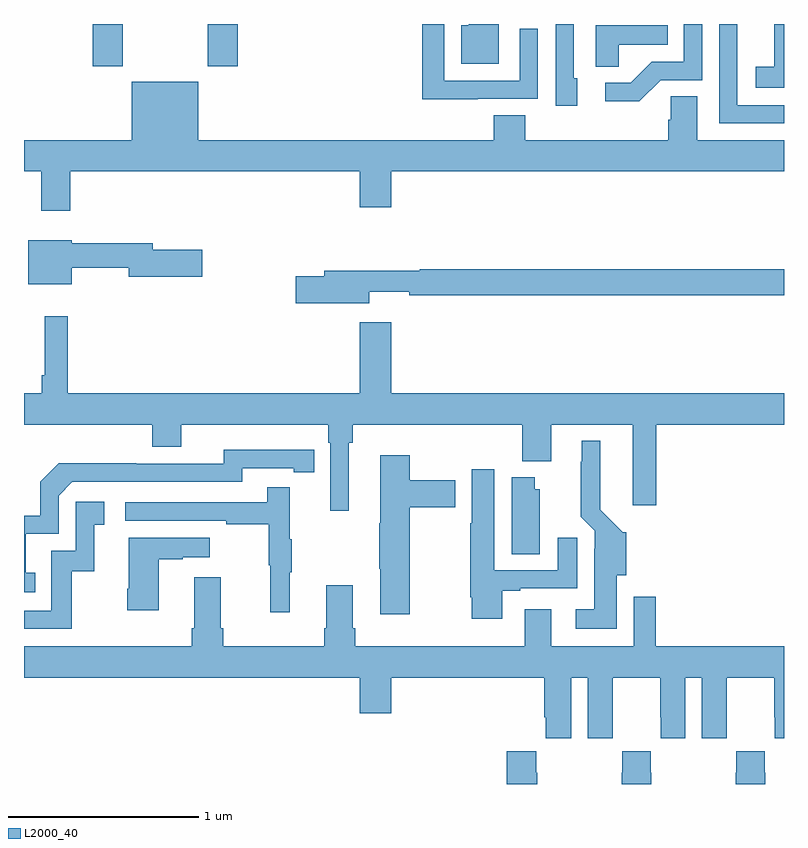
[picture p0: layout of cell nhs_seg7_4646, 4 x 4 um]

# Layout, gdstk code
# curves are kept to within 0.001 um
import gdstk
lib = gdstk.Library(unit=1e-6, precision=1e-09)
def R(c, l, rs):  # rectangles x0, y0, x1, y1
    for r in rs: c.add(gdstk.rectangle(r[:2], r[2:], *l))
def P(c, l, *ps):  # polygons
    for p in ps: c.add(gdstk.Polygon(p, *l))
L2000_40 = (2000, 40)

nhs_seg7_4646 = lib.new_cell('nhs_seg7_4646')
R(nhs_seg7_4646, L2000_40, [(403.361,1059.777,403.521,1060), (403.966,1059.777,404.126,1060)])
P(nhs_seg7_4646, L2000_40, [(405.389,1059.606),(405.705,1059.606),(405.705,1059.976),(405.609,1059.976),(405.609,1059.702),(405.213,1059.702),(405.213,1060),(405.097,1060),(405.097,1059.605),(405.389,1059.605)],
  [(407,1060),(406.949,1060),(406.949,1059.775),(406.851,1059.775),(406.851,1059.665),(407,1059.665)],
  [(405.499,1060),(405.341,1060),(405.341,1059.994),(405.302,1059.994),(405.302,1059.791),(405.499,1059.791)],
  [(406.35,1059.705),(406.569,1059.705),(406.569,1060),(406.473,1060),(406.473,1059.801),(406.304,1059.801),(406.193,1059.69),(406.059,1059.69),(406.059,1059.593),(406.237,1059.593)],
  [(405.913,1059.714),(405.894,1059.714),(405.894,1060),(405.798,1060),(405.798,1059.57),(405.913,1059.57)],
  [(407,1059.573),(406.755,1059.573),(406.755,1060),(406.659,1060),(406.659,1059.477),(407,1059.477)],
  [(406.131,1059.89),(406.388,1059.89),(406.388,1059.994),(406.01,1059.994),(406.01,1059.775),(406.131,1059.775)],
  [(403.244,1059.224),(404.768,1059.224),(404.768,1059.036),(404.932,1059.036),(404.932,1059.224),(407,1059.224),(407,1059.388),(406.543,1059.388),(406.543,1059.62),(406.404,1059.62),(406.404,1059.497),(406.391,1059.497),(406.391,1059.388),(405.638,1059.388),(405.638,1059.521),(405.473,1059.521),(405.473,1059.388),(403.918,1059.388),(403.918,1059.697),(403.568,1059.697),(403.568,1059.388),(403,1059.388),(403,1059.224),(403.091,1059.224),(403.091,1059.018),(403.244,1059.018)],
  [(403.252,1058.716),(403.55,1058.716),(403.55,1058.669),(403.939,1058.669),(403.939,1058.811),(403.678,1058.811),(403.678,1058.845),(403.252,1058.845),(403.252,1058.863),(403.022,1058.863),(403.022,1058.63),(403.252,1058.63)],
  [(404.818,1058.591),(405.028,1058.591),(405.028,1058.572),(407,1058.572),(407,1058.708),(405.083,1058.708),(405.083,1058.701),(404.579,1058.701),(404.579,1058.672),(404.43,1058.672),(404.43,1058.53),(404.818,1058.53)],
  [(404.71,1057.796),(404.729,1057.796),(404.729,1057.892),(405.623,1057.892),(405.623,1057.7),(405.775,1057.7),(405.775,1057.892),(406.205,1057.892),(406.205,1057.467),(406.328,1057.467),(406.328,1057.892),(407,1057.892),(407,1058.056),(404.932,1058.056),(404.932,1058.431),(404.768,1058.431),(404.768,1058.056),(403.229,1058.056),(403.229,1058.461),(403.108,1058.461),(403.108,1058.152),(403.093,1058.152),(403.093,1058.056),(403,1058.056),(403,1057.892),(403.676,1057.892),(403.676,1057.775),(403.828,1057.775),(403.828,1057.892),(404.6,1057.892),(404.6,1057.796),(404.613,1057.796),(404.613,1057.437),(404.71,1057.437)],
  [(406.12,1057.098),(406.171,1057.098),(406.171,1057.326),(406.151,1057.326),(406.033,1057.444),(406.033,1057.807),(405.935,1057.807),(405.935,1057.697),(405.931,1057.697),(405.931,1057.406),(406.005,1057.332),(406.005,1057.238),(406.001,1057.238),(406.001,1056.919),(405.903,1056.919),(405.903,1056.818),(406.12,1056.818)],
  [(403.058,1057.113),(403.009,1057.113),(403.009,1057.317),(403.182,1057.317),(403.182,1057.518),(403.254,1057.59),(404.148,1057.59),(404.148,1057.662),(404.42,1057.662),(404.42,1057.642),(404.528,1057.642),(404.528,1057.758),(404.052,1057.759),(404.052,1057.686),(403.592,1057.686),(403.592,1057.688),(403.184,1057.688),(403.086,1057.59),(403.086,1057.413),(403,1057.413),(403,1057.008),(403.058,1057.008)],
  [(405.03,1057.457),(405.271,1057.457),(405.271,1057.599),(405.03,1057.599),(405.03,1057.729),(404.876,1057.729),(404.876,1057.373),(404.869,1057.373),(404.869,1057.132),(404.876,1057.132),(404.876,1056.894),(405.03,1056.894)],
  [(405.517,1057.017),(405.613,1057.017),(405.613,1057.029),(405.913,1057.029),(405.913,1057.297),(405.809,1057.297),(405.809,1057.125),(405.475,1057.125),(405.475,1057.657),(405.356,1057.657),(405.356,1057.373),(405.349,1057.373),(405.349,1056.982),(405.356,1056.982),(405.356,1056.87),(405.517,1056.87)],
  [(405.715,1057.551),(405.688,1057.551),(405.688,1057.615),(405.566,1057.615),(405.566,1057.21),(405.715,1057.21)],
  [(404.399,1057.115),(404.41,1057.115),(404.41,1057.289),(404.399,1057.289),(404.399,1057.561),(404.281,1057.561),(404.281,1057.482),(403.533,1057.482),(403.533,1057.386),(404.065,1057.386),(404.065,1057.366),(404.289,1057.366),(404.289,1057.152),(404.296,1057.152),(404.296,1056.903),(404.399,1056.903)],
  [(403.252,1057.119),(403.37,1057.119),(403.37,1057.365),(403.423,1057.365),(403.423,1057.486),(403.272,1057.486),(403.272,1057.227),(403.143,1057.227),(403.143,1056.912),(403,1056.912),(403,1056.816),(403.252,1056.816)],
  [(403.708,1057.183),(403.835,1057.183),(403.835,1057.193),(403.978,1057.193),(403.978,1057.297),(403.55,1057.297),(403.55,1057.027),(403.543,1057.027),(403.543,1056.915),(403.708,1056.915)],
  [(405.88,1056.56),(405.968,1056.56),(405.968,1056.24),(406.098,1056.24),(406.098,1056.352),(406.099,1056.352),(406.099,1056.56),(406.349,1056.56),(406.349,1056.352),(406.35,1056.352),(406.35,1056.24),(406.48,1056.24),(406.48,1056.56),(406.568,1056.56),(406.568,1056.24),(406.698,1056.24),(406.698,1056.352),(406.699,1056.352),(406.699,1056.56),(406.949,1056.56),(406.949,1056.352),(406.95,1056.352),(406.95,1056.24),(407,1056.24),(407,1056.724),(406.325,1056.724),(406.325,1056.985),(406.209,1056.985),(406.209,1056.724),(405.775,1056.724),(405.775,1056.919),(405.635,1056.919),(405.635,1056.724),(404.744,1056.724),(404.744,1056.82),(404.731,1056.82),(404.731,1057.045),(404.591,1057.045),(404.591,1056.82),(404.579,1056.82),(404.579,1056.724),(404.048,1056.724),(404.048,1056.82),(404.035,1056.82),(404.035,1057.087),(403.895,1057.087),(403.895,1056.82),(403.883,1056.82),(403.883,1056.724),(403,1056.724),(403,1056.56),(404.768,1056.56),(404.768,1056.372),(404.932,1056.372),(404.932,1056.56),(405.737,1056.56),(405.737,1056.352),(405.746,1056.352),(405.746,1056.24),(405.88,1056.24)],
  [(405.702,1056.059),(405.695,1056.059),(405.695,1056.172),(405.542,1056.172),(405.542,1056),(405.702,1056)],
  [(406.902,1056.059),(406.899,1056.059),(406.899,1056.172),(406.749,1056.172),(406.749,1056.059),(406.747,1056.059),(406.747,1056),(406.902,1056)],
  [(406.302,1056.059),(406.299,1056.059),(406.299,1056.172),(406.149,1056.172),(406.149,1056.059),(406.147,1056.059),(406.147,1056),(406.302,1056)])

lib.write_gds('nhs_seg7_4646.gds')
